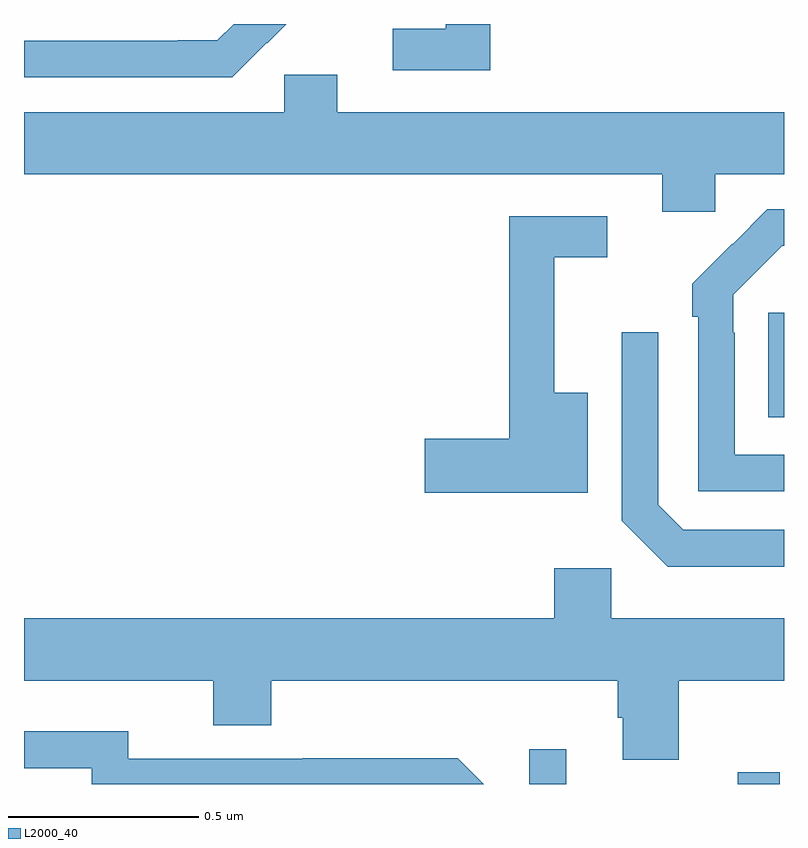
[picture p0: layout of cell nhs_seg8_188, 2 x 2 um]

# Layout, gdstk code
import gdstk
lib = gdstk.Library(unit=1e-6, precision=1e-09)
def R(c, l, rs):  # rectangles x0, y0, x1, y1
    for r in rs: c.add(gdstk.rectangle(r[:2], r[2:], *l))
def P(c, l, *ps):  # polygons
    for p in ps: c.add(gdstk.Polygon(p, *l))
L2000_40 = (2000, 40)

nhs_seg8_188 = lib.new_cell('nhs_seg8_188')
R(nhs_seg8_188, L2000_40, [(114.33,1110.9,114.427,1110.991), (114.878,1110.9,114.989,1110.931), (114.959,1111.865,115,1112.14)])
P(nhs_seg8_188, L2000_40, [(113.639,1112.851),(113.64,1112.85),(113.69,1112.9),(113.552,1112.9),(113.509,1112.857),(113.405,1112.857),(113.405,1112.856),(113,1112.856),(113,1112.76),(113.548,1112.76)],
  [(114.227,1112.9),(114.11,1112.9),(114.11,1112.887),(113.97,1112.887),(113.97,1112.778),(114.227,1112.778)],
  [(114.819,1112.504),(115,1112.504),(115,1112.668),(113.824,1112.668),(113.824,1112.766),(113.685,1112.766),(113.685,1112.668),(113,1112.668),(113,1112.504),(114.68,1112.504),(114.68,1112.406),(114.819,1112.406)],
  [(115,1111.767),(114.87,1111.767),(114.87,1112.087),(114.867,1112.087),(114.867,1112.187),(114.996,1112.316),(115,1112.316),(115,1112.412),(114.956,1112.412),(114.865,1112.321),(114.864,1112.322),(114.759,1112.217),(114.759,1112.129),(114.774,1112.129),(114.774,1111.671),(115,1111.671)],
  [(114.484,1111.93),(114.395,1111.93),(114.395,1112.286),(114.535,1112.286),(114.535,1112.394),(114.277,1112.394),(114.277,1111.808),(114.054,1111.808),(114.054,1111.666),(114.484,1111.666)],
  [(115,1111.569),(114.735,1111.569),(114.669,1111.635),(114.669,1112.089),(114.573,1112.089),(114.573,1111.593),(114.694,1111.472),(115,1111.472)],
  [(114.723,1111.172),(115,1111.172),(115,1111.336),(114.546,1111.336),(114.546,1111.468),(114.395,1111.468),(114.395,1111.336),(113,1111.336),(113,1111.172),(113.498,1111.172),(113.498,1111.055),(113.651,1111.055),(113.651,1111.172),(114.563,1111.172),(114.563,1111.074),(114.575,1111.074),(114.575,1110.964),(114.723,1110.964)],
  [(114.142,1110.968),(113.734,1110.968),(113.734,1110.966),(113.274,1110.966),(113.274,1111.039),(113,1111.039),(113,1110.942),(113.178,1110.942),(113.178,1110.9),(114.21,1110.9)])

lib.write_gds('nhs_seg8_188.gds')
